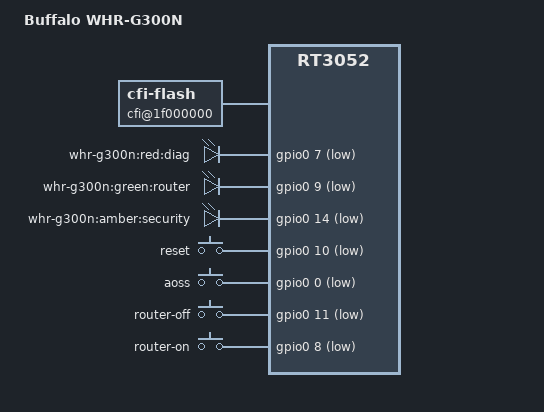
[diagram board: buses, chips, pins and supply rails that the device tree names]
/dts-v1/;

#include "rt3050.dtsi"

#include <dt-bindings/input/input.h>

/ {
	compatible = "WHR-G300N", "ralink,rt3052-soc";
	model = "Buffalo WHR-G300N";

	cfi@1f000000 {
		compatible = "cfi-flash";
		reg = <0x1f000000 0x800000>;
		bank-width = <2>;
		device-width = <2>;
		#address-cells = <1>;
		#size-cells = <1>;
	};

	gpio-leds {
		compatible = "gpio-leds";

		diag {
			label = "whr-g300n:red:diag";
			gpios = <&gpio0 7 1>;
		};

		router {
			label = "whr-g300n:green:router";
			gpios = <&gpio0 9 1>;
		};

		security {
			label = "whr-g300n:amber:security";
			gpios = <&gpio0 14 1>;
		};
	};

	gpio-keys-polled {
		compatible = "gpio-keys-polled";
		#address-cells = <1>;
		#size-cells = <0>;
		poll-interval = <20>;

		reset {
			label = "reset";
			gpios = <&gpio0 10 1>;
			linux,code = <KEY_RESTART>;
		};

		aoss {
			label = "aoss";
			gpios = <&gpio0 0 1>;
			linux,code = <KEY_WPS_BUTTON>;
		};

		router-off {
			label = "router-off";
			gpios = <&gpio0 11 1>;
			linux,code = <BTN_2>;
		};

		router-on {
			label = "router-on";
			gpios = <&gpio0 8 1>;
			linux,code = <BTN_3>;
		};
	};
};

&pinctrl {
	state_default: pinctrl0 {
		gpio {
			ralink,group = "spi", "i2c", "jtag", "rgmii", "mdio", "uartf";
			ralink,function = "gpio";
		};
	};
};

&esw {
	mediatek,portmap = <0x2f>;
};

/* FIXME: no partitions defined */
/*&wmac {
	ralink,mtd-eeprom = <&factory 0>;
};
*/
